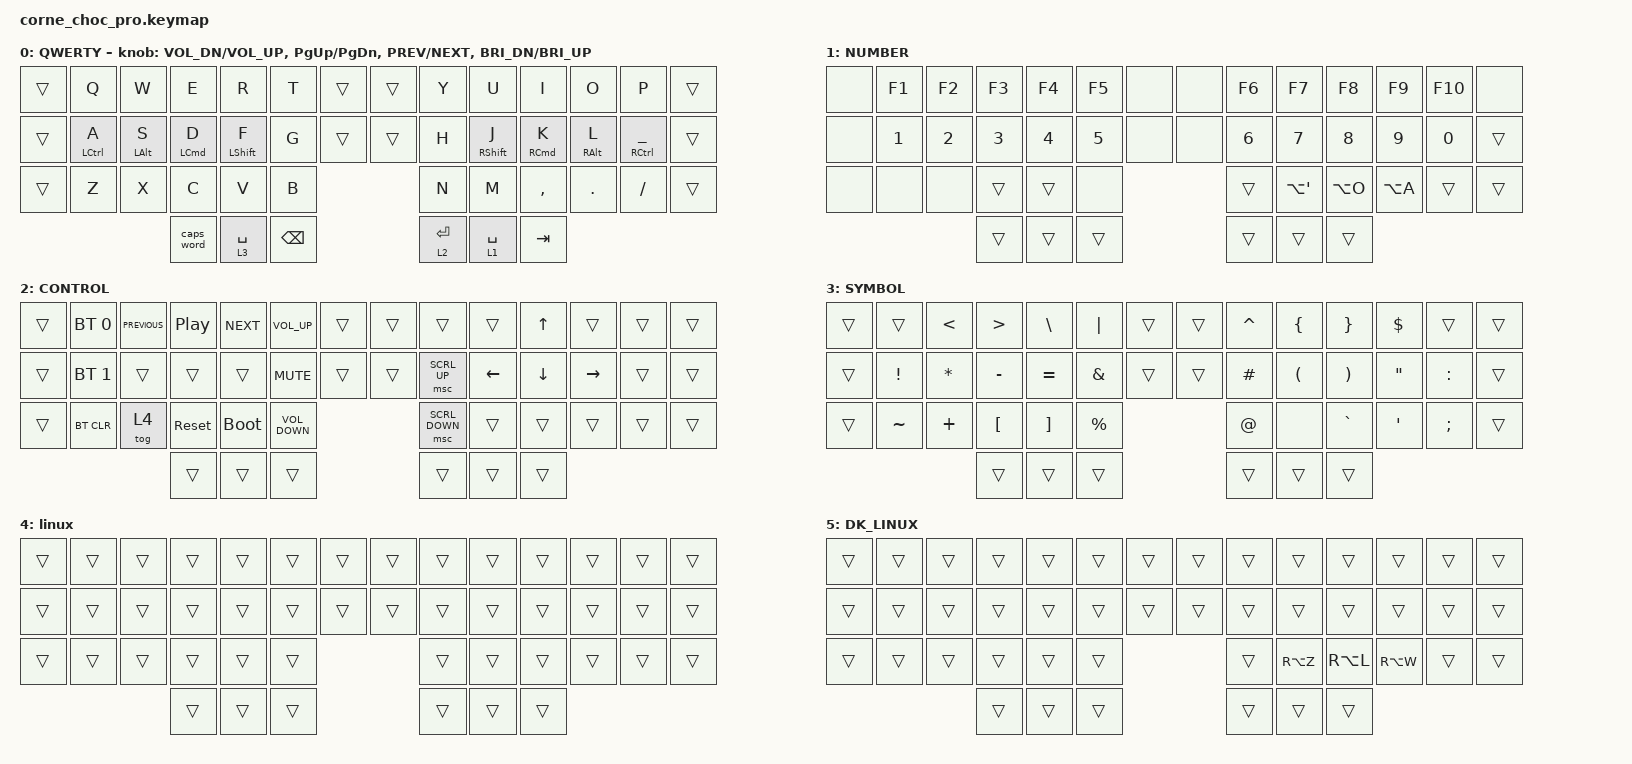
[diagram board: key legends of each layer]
/*
 * Copyright (c) 2020 The ZMK Contributors
 *
 * SPDX-License-Identifier: MIT
 */

#include <behaviors.dtsi>
#include <dt-bindings/zmk/bt.h>
#include <dt-bindings/zmk/keys.h>

// default 10 = 10 wheel ticks/sec, too slow; a quick tap emits nothing
#define ZMK_POINTING_DEFAULT_SCRL_VAL 60
#include <dt-bindings/zmk/pointing.h>

&mt { flavor = "tap-preferred"; };

&lt {
    tapping-term-ms = <175>;
    quick-tap-ms = <200>;
};

/ {
    chosen { zmk,physical-layout = &default_layout; };
};

/ {
    combos {
        compatible = "zmk,combos";

        combo_escape {
            bindings = <&kp ESC>;
            key-positions = <18 17>;
            layers = <0>;
        };
    };

    keymap {
        compatible = "zmk,keymap";

        default_layer {
            display-name = "QWERTY";

            // --------------------------------------------------------------------------------
            // |  TAB |  Q  |  W  |  E  |  R  |  T  |  MUTE |  PP   |  Y  |  U   |  I  |  O  |  P  | BSPC |
            // | CTRL |  A  |  S  |  D  |  F  |  G  |  LALT |  RALT |  H  |  J   |  K  |  L  |  ;  |  '   |
            // | SHFT |  Z  |  X  |  C  |  V  |  B  |               |  N  |  M   |  ,  |  .  |  /  | ESC  |
            //                    | GUI | LWR | SPC |               | ENT | RSE  | ALT |

            bindings = <
&trans  &kp Q        &kp W           &kp E               &kp R             &kp T          &trans  &trans  &kp Y        &kp U              &kp I                &kp O            &kp P            &trans
&trans  &mt LCTRL A  &mt LEFT_ALT S  &mt LEFT_COMMAND D  &mt LEFT_SHIFT F  &kp G          &trans  &trans  &kp H        &mt RIGHT_SHIFT J  &mt RIGHT_COMMAND K  &mt RIGHT_ALT L  &mt RCTRL UNDER  &trans
&trans  &kp Z        &kp X           &kp C               &kp V             &kp B                          &kp N        &kp M              &kp COMMA            &kp DOT          &kp FSLH         &trans
                                     &caps_word          &lt 3 SPACE       &kp BACKSPACE                  &lt 2 ENTER  &lt 1 SPACE        &kp TAB
            >;

            sensor-bindings = <&inc_dec_kp C_VOL_DN C_VOL_UP &inc_dec_kp PG_UP PG_DN &inc_dec_kp C_PREV C_NEXT &inc_dec_kp C_BRI_DN C_BRI_UP>;
        };

        lower_layer {
            display-name = "NUMBER";

            // -----------------------------------------------------------------------------------------
            // |  TAB |  1  |  2  |  3  |  4  |  5    |  LCTRL | RCTRL |  6  |  7  |  8  |  9  |  0  | BSPC |
            // | CTRL | BT1 | BT2 | BT3 | BT4 | BT5   |  LALT  | RALT  | LFT | DWN |  UP | RGT |     |      |
            // | SHFT | BTCR| RGB | RST | BOOT| Unlock|        |       |     |     |     |     |     |      |
            //                    | GUI |     | SPC   |        | ENT   |     | ALT |

            bindings = <
&none  &kp F1        &kp F2        &kp F3        &kp F4        &kp F5        &none  &none  &kp F6        &kp F7       &kp F8        &kp F9        &kp F10       &none
&none  &kp NUMBER_1  &kp NUMBER_2  &kp NUMBER_3  &kp NUMBER_4  &kp NUMBER_5  &none  &none  &kp NUMBER_6  &kp N7       &kp NUMBER_8  &kp NUMBER_9  &kp NUMBER_0  &trans
&none  &none         &none         &trans        &trans        &none                       &trans        &kp LA(SQT)  &kp LA(O)     &kp LA(A)     &trans        &trans
                                   &trans        &trans        &trans                      &trans        &trans       &trans
            >;
        };

        control {
            display-name = "CONTROL";
            bindings = <
&trans  &bt BT_SEL 0  &kp C_PREVIOUS  &kp C_PLAY_PAUSE  &kp C_NEXT   &kp C_VOLUME_UP    &trans  &trans  &trans          &trans          &kp UP_ARROW    &trans           &trans  &trans
&trans  &bt BT_SEL 1  &trans          &trans            &trans       &kp K_MUTE         &trans  &trans  &msc SCRL_UP    &kp LEFT_ARROW  &kp DOWN_ARROW  &kp RIGHT_ARROW  &trans  &trans
&trans  &bt BT_CLR    &tog 4          &sys_reset        &bootloader  &kp C_VOLUME_DOWN                  &msc SCRL_DOWN  &trans          &trans          &trans           &trans  &trans
                                      &trans            &trans       &trans                             &trans          &trans          &trans
            >;

            label = "SYS";
        };

        symbol {
            bindings = <
&trans  &trans     &kp LT     &kp GREATER_THAN  &kp BACKSLASH  &kp PIPE       &trans  &trans  &kp CARET  &kp LEFT_BRACE        &kp RIGHT_BRACE        &kp DOLLAR        &trans         &trans
&trans  &kp EXCL   &kp ASTRK  &kp MINUS         &kp EQUAL      &kp AMPERSAND  &trans  &trans  &kp HASH   &kp LEFT_PARENTHESIS  &kp RIGHT_PARENTHESIS  &kp DQT           &kp COLON      &trans
&trans  &kp TILDE  &kp PLUS   &kp LBKT          &kp RBKT       &kp PERCENT                    &kp AT     &none                 &kp GRAVE              &kp SINGLE_QUOTE  &kp SEMICOLON  &trans
                              &trans            &trans         &trans                         &trans     &trans                &trans
            >;

            label = "SYMBOL";
        };

        os_linux {
            display-name = "linux";
            bindings = <
&trans  &trans  &trans  &trans  &trans  &trans  &trans  &trans  &trans  &trans  &trans  &trans  &trans  &trans
&trans  &trans  &trans  &trans  &trans  &trans  &trans  &trans  &trans  &trans  &trans  &trans  &trans  &trans
&trans  &trans  &trans  &trans  &trans  &trans                  &trans  &trans  &trans  &trans  &trans  &trans
                        &trans  &trans  &trans                  &trans  &trans  &trans
            >;
        };

        danish_linux {
            display-name = "DK_LINUX";
            bindings = <
&trans  &trans  &trans  &trans  &trans  &trans  &trans  &trans  &trans  &trans     &trans     &trans     &trans  &trans
&trans  &trans  &trans  &trans  &trans  &trans  &trans  &trans  &trans  &trans     &trans     &trans     &trans  &trans
&trans  &trans  &trans  &trans  &trans  &trans                  &trans  &kp RA(Z)  &kp RA(L)  &kp RA(W)  &trans  &trans
                        &trans  &trans  &trans                  &trans  &trans     &trans
            >;
        };
    };

    conditional_layers {
        compatible = "zmk,conditional-layers";

        danish_linux_cond {
            if-layers = <1 4>;
            then-layer = <5>;
        };
    };
};
